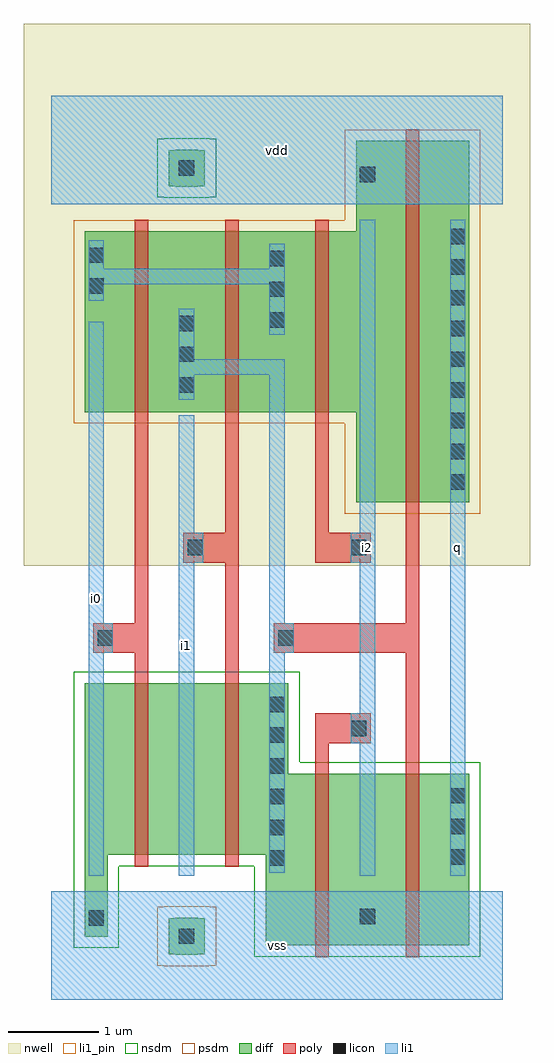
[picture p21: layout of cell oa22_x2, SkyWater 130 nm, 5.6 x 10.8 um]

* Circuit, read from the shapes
.subckt oa22_x2 i0 i1 i2 q vdd vss
XM1 n1 i0 vss VSUBS sky130_fd_pr__nfet_01v8 w=1.9 l=0.15
XM2 n2 i1 n1 VSUBS sky130_fd_pr__nfet_01v8 w=1.9 l=0.15
XM3 vss i2 n2 VSUBS sky130_fd_pr__nfet_01v8 w=1.9 l=0.15
XM4 q n2 vss VSUBS sky130_fd_pr__nfet_01v8 w=1.9 l=0.15
XM5 n2 i0 n3 n4 sky130_fd_pr__pfet_01v8 w=2 l=0.15
XM6 n3 i1 n2 n4 sky130_fd_pr__pfet_01v8 w=2 l=0.15
XM7 vdd i2 n3 n4 sky130_fd_pr__pfet_01v8 w=2 l=0.15
XM8 q n2 vdd n4 sky130_fd_pr__pfet_01v8 w=4 l=0.15
.ends

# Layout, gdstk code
import gdstk
lib = gdstk.Library(unit=1e-6, precision=1e-09)
def R(c, l, rs):  # rectangles x0, y0, x1, y1
    for r in rs: c.add(gdstk.rectangle(r[:2], r[2:], *l))
def A(c, l, x, y, w, h, nx, ny, dx, dy):  # array of equal rectangles
    R(c, l, [(x+i*dx, y+j*dy, x+i*dx+w, y+j*dy+h) for i in range(nx) for j in range(ny)])
def P(c, l, *ps):  # polygons
    for p in ps: c.add(gdstk.Polygon(p, *l))
nwell = (64, 20)
diff = (65, 20)
poly = (66, 20)
licon = (66, 44)
li1_pin = (67, 16)
li1 = (67, 20)
nsdm = (93, 44)
psdm = (94, 20)

oa22_x2 = lib.new_cell('oa22_x2')
R(oa22_x2, nwell, [(-0.3,4.8,5.3,10.8)])
P(oa22_x2, diff, [(1.375,0.495),(1.375,0.5),(1.3,0.5),(1.3,0.9),(1.375,0.9),(1.375,0.905),(1.625,0.905),(1.625,0.9),(1.7,0.9),(1.7,0.5),(1.625,0.5),(1.625,0.495)],
  [(2.375,0.6),(2.375,1.6),(0.625,1.6),(0.625,0.695),(0.375,0.695),(0.375,3.5),(2.625,3.5),(2.625,2.5),(4.625,2.5),(4.625,0.6)],
  [(1.375,8.995),(1.375,9),(1.3,9),(1.3,9.4),(1.375,9.4),(1.375,9.405),(1.625,9.405),(1.625,9.4),(1.7,9.4),(1.7,9),(1.625,9),(1.625,8.995)],
  [(3.375,5.5),(3.375,6.5),(0.375,6.5),(0.375,8.5),(3.375,8.5),(3.375,9.5),(4.625,9.5),(4.625,5.5)])
P(oa22_x2, poly, [(2.925,0.47),(2.925,3.165),(3.535,3.165),(3.535,2.835),(3.075,2.835),(3.075,0.47)],
  [(0.925,1.47),(0.925,3.835),(0.465,3.835),(0.465,4.165),(0.925,4.165),(0.925,8.63),(1.075,8.63),(1.075,1.47)],
  [(1.925,1.47),(1.925,4.835),(1.465,4.835),(1.465,5.165),(1.925,5.165),(1.925,8.63),(2.075,8.63),(2.075,1.47)],
  [(2.925,4.835),(2.925,8.63),(3.075,8.63),(3.075,5.165),(3.535,5.165),(3.535,4.835)],
  [(3.925,0.47),(3.925,3.835),(2.465,3.835),(2.465,4.165),(3.925,4.165),(3.925,9.63),(4.075,9.63),(4.075,0.47)])
A(oa22_x2, licon, 2.415, 1.48, 0.17, 0.17, 1, 6, 0, 0.34)
A(oa22_x2, licon, 4.415, 1.49, 0.17, 0.17, 1, 3, 0, 0.34)
A(oa22_x2, licon, 4.415, 5.64, 0.17, 0.17, 1, 9, 0, 0.34)
A(oa22_x2, licon, 1.415, 6.715, 0.17, 0.17, 1, 3, 0, 0.34)
A(oa22_x2, licon, 2.415, 7.435, 0.17, 0.17, 1, 3, 0, 0.34)
R(oa22_x2, licon, [(1.415,0.615,1.585,0.785), (0.415,0.815,0.585,0.985), (3.415,0.835,3.585,1.005), (3.315,2.915,3.485,3.085), (0.515,3.915,0.685,4.085), (2.515,3.915,2.685,4.085), (1.515,4.915,1.685,5.085), (3.315,4.915,3.485,5.085), (0.415,7.81,0.585,7.98), (0.415,8.15,0.585,8.32), (3.415,9.045,3.585,9.215), (1.415,9.115,1.585,9.285)])
R(oa22_x2, li1_pin, [(0,0,5,1.2), (0.415,1.37,0.585,7.5), (1.415,1.37,1.585,6.465), (3.415,1.37,3.585,8.63), (4.415,1.37,4.585,8.63), (0,8.8,5,10)])
R(oa22_x2, li1, [(0,0,5,1.2), (4.415,1.37,4.585,8.63), (0,8.8,5,10)])
P(oa22_x2, li1, [(1.415,1.37),(1.415,6.465),(1.585,6.465),(1.585,5.165),(1.685,5.165),(1.685,4.835),(1.585,4.835),(1.585,1.37)],
  [(0.415,1.37),(0.415,7.5),(0.585,7.5),(0.585,4.165),(0.685,4.165),(0.685,3.835),(0.585,3.835),(0.585,1.37)],
  [(2.415,1.4),(2.415,6.915),(1.585,6.915),(1.585,6.635),(1.415,6.635),(1.415,7.645),(1.585,7.645),(1.585,7.085),(2.585,7.085),(2.585,4.165),(2.685,4.165),(2.685,3.835),(2.585,3.835),(2.585,1.4)],
  [(2.415,7.355),(2.415,7.915),(0.585,7.915),(0.585,7.73),(0.415,7.73),(0.415,8.4),(0.585,8.4),(0.585,8.085),(2.415,8.085),(2.415,8.365),(2.585,8.365),(2.585,7.355)],
  [(3.415,1.37),(3.415,2.835),(3.315,2.835),(3.315,3.165),(3.415,3.165),(3.415,4.835),(3.315,4.835),(3.315,5.165),(3.415,5.165),(3.415,8.63),(3.585,8.63),(3.585,1.37)])
P(oa22_x2, nsdm, [(2.25,0.475),(2.25,1.475),(0.75,1.475),(0.75,0.57),(0.25,0.57),(0.25,3.625),(2.75,3.625),(2.75,2.625),(4.75,2.625),(4.75,0.475)],
  [(1.25,8.87),(1.25,8.875),(1.175,8.875),(1.175,9.525),(1.25,9.525),(1.25,9.53),(1.75,9.53),(1.75,9.525),(1.825,9.525),(1.825,8.875),(1.75,8.875),(1.75,8.87)])
P(oa22_x2, psdm, [(1.25,0.37),(1.25,0.375),(1.175,0.375),(1.175,1.025),(1.25,1.025),(1.25,1.03),(1.75,1.03),(1.75,1.025),(1.825,1.025),(1.825,0.375),(1.75,0.375),(1.75,0.37)],
  [(3.25,5.375),(3.25,6.375),(0.25,6.375),(0.25,8.625),(3.25,8.625),(3.25,9.625),(4.75,9.625),(4.75,5.375)])
oa22_x2.add(gdstk.Label('vss', (2.5,0.6), layer=67, texttype=16))
oa22_x2.add(gdstk.Label('q', (4.5,5), layer=67, texttype=16))
oa22_x2.add(gdstk.Label('vdd', (2.5,9.4), layer=67, texttype=16))
oa22_x2.add(gdstk.Label('i0', (0.5,4.435), layer=67, texttype=16))
oa22_x2.add(gdstk.Label('i1', (1.5,3.918), layer=67, texttype=16))
oa22_x2.add(gdstk.Label('i2', (3.5,5), layer=67, texttype=16))
oa22_x2.add(gdstk.Label('vss', (2.5,0.6), layer=67, texttype=16))
oa22_x2.add(gdstk.Label('q', (4.5,5), layer=67, texttype=16))
oa22_x2.add(gdstk.Label('vdd', (2.5,9.4), layer=67, texttype=16))
oa22_x2.add(gdstk.Label('i0', (0.5,4.435), layer=67, texttype=16))
oa22_x2.add(gdstk.Label('i1', (1.5,3.918), layer=67, texttype=16))
oa22_x2.add(gdstk.Label('i2', (3.5,5), layer=67, texttype=16))

lib.write_gds('oa22_x2.gds')
